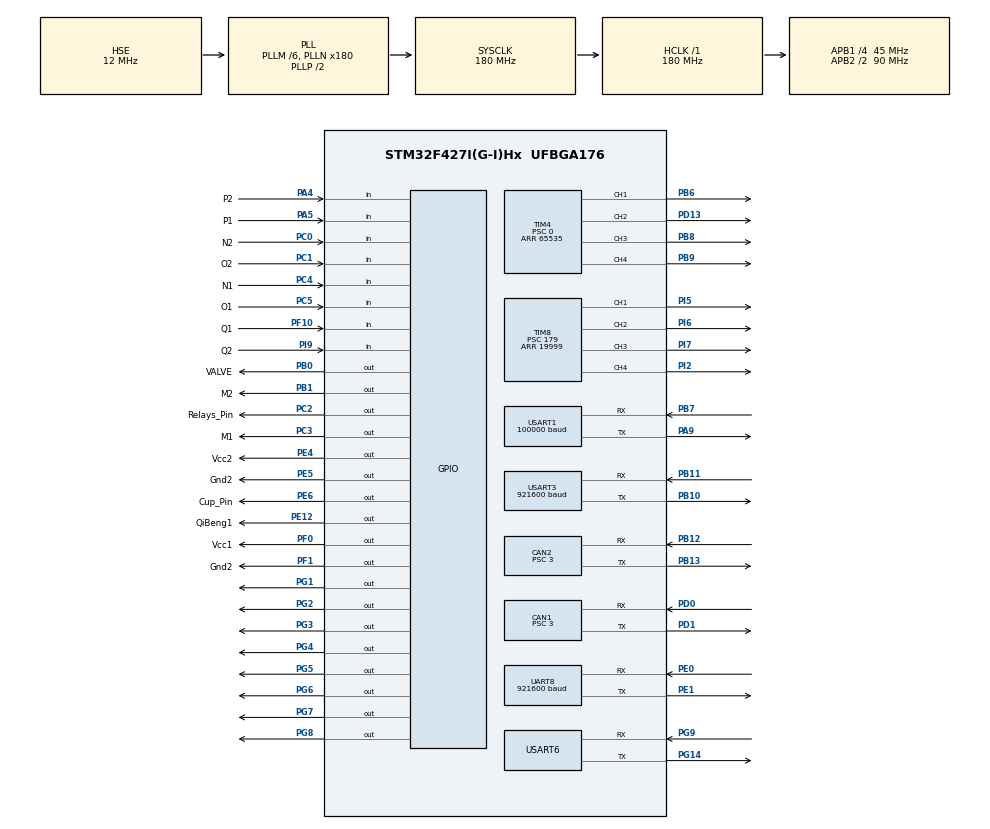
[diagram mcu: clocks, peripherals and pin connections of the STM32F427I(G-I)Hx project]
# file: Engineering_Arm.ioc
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CAN1.ABOM=ENABLE
CAN1.BS1=CAN_BS1_10TQ
CAN1.BS2=CAN_BS2_4TQ
CAN1.CalculateBaudRate=1000000
CAN1.CalculateTimeBit=1000
CAN1.CalculateTimeQuantum=66.66666666666666
CAN1.Prescaler=3
CAN2.ABOM=ENABLE
CAN2.BS1=CAN_BS1_10TQ
CAN2.BS2=CAN_BS2_4TQ
CAN2.CalculateBaudRate=1000000
CAN2.CalculateTimeBit=1000
CAN2.CalculateTimeQuantum=66.66666666666666
CAN2.Prescaler=3
Dma.Request0=UART8_RX
Dma.Request1=USART1_RX
Dma.Request2=USART6_RX
Dma.Request3=USART6_TX
Dma.Request4=UART8_TX
Dma.Request5=USART3_RX
Dma.UART8_RX.0.Direction=DMA_PERIPH_TO_MEMORY
Dma.UART8_RX.0.FIFOMode=DMA_FIFOMODE_DISABLE
Dma.UART8_RX.0.Instance=DMA1_Stream6
Dma.UART8_RX.0.MemDataAlignment=DMA_MDATAALIGN_BYTE
Dma.UART8_RX.0.MemInc=DMA_MINC_ENABLE
Dma.UART8_RX.0.Mode=DMA_CIRCULAR
Dma.UART8_RX.0.PeriphDataAlignment=DMA_PDATAALIGN_BYTE
Dma.UART8_RX.0.PeriphInc=DMA_PINC_DISABLE
Dma.UART8_RX.0.Priority=DMA_PRIORITY_MEDIUM
Dma.UART8_TX.4.Direction=DMA_MEMORY_TO_PERIPH
Dma.UART8_TX.4.FIFOMode=DMA_FIFOMODE_DISABLE
Dma.UART8_TX.4.Instance=DMA1_Stream0
Dma.UART8_TX.4.MemDataAlignment=DMA_MDATAALIGN_BYTE
Dma.UART8_TX.4.MemInc=DMA_MINC_ENABLE
Dma.UART8_TX.4.Mode=DMA_NORMAL
Dma.UART8_TX.4.PeriphDataAlignment=DMA_PDATAALIGN_BYTE
Dma.UART8_TX.4.PeriphInc=DMA_PINC_DISABLE
Dma.UART8_TX.4.Priority=DMA_PRIORITY_LOW
Dma.USART1_RX.1.Direction=DMA_PERIPH_TO_MEMORY
Dma.USART1_RX.1.FIFOMode=DMA_FIFOMODE_DISABLE
Dma.USART1_RX.1.Instance=DMA2_Stream2
Dma.USART1_RX.1.MemDataAlignment=DMA_MDATAALIGN_BYTE
Dma.USART1_RX.1.MemInc=DMA_MINC_ENABLE
Dma.USART1_RX.1.Mode=DMA_NORMAL
Dma.USART1_RX.1.PeriphDataAlignment=DMA_PDATAALIGN_BYTE
Dma.USART1_RX.1.PeriphInc=DMA_PINC_DISABLE
Dma.USART1_RX.1.Priority=DMA_PRIORITY_VERY_HIGH
Dma.USART3_RX.5.Direction=DMA_PERIPH_TO_MEMORY
Dma.USART3_RX.5.FIFOMode=DMA_FIFOMODE_DISABLE
Dma.USART3_RX.5.Instance=DMA1_Stream1
Dma.USART3_RX.5.MemDataAlignment=DMA_MDATAALIGN_BYTE
Dma.USART3_RX.5.MemInc=DMA_MINC_ENABLE
Dma.USART3_RX.5.Mode=DMA_CIRCULAR
Dma.USART3_RX.5.PeriphDataAlignment=DMA_PDATAALIGN_BYTE
Dma.USART3_RX.5.PeriphInc=DMA_PINC_DISABLE
Dma.USART3_RX.5.Priority=DMA_PRIORITY_MEDIUM
Dma.USART6_RX.2.Direction=DMA_PERIPH_TO_MEMORY
Dma.USART6_RX.2.FIFOMode=DMA_FIFOMODE_DISABLE
Dma.USART6_RX.2.Instance=DMA2_Stream1
Dma.USART6_RX.2.MemDataAlignment=DMA_MDATAALIGN_BYTE
Dma.USART6_RX.2.MemInc=DMA_MINC_ENABLE
Dma.USART6_RX.2.Mode=DMA_NORMAL
Dma.USART6_RX.2.PeriphDataAlignment=DMA_PDATAALIGN_BYTE
Dma.USART6_RX.2.PeriphInc=DMA_PINC_DISABLE
Dma.USART6_RX.2.Priority=DMA_PRIORITY_HIGH
Dma.USART6_TX.3.Direction=DMA_MEMORY_TO_PERIPH
Dma.USART6_TX.3.FIFOMode=DMA_FIFOMODE_DISABLE
Dma.USART6_TX.3.Instance=DMA2_Stream6
Dma.USART6_TX.3.MemDataAlignment=DMA_MDATAALIGN_BYTE
Dma.USART6_TX.3.MemInc=DMA_MINC_ENABLE
Dma.USART6_TX.3.Mode=DMA_NORMAL
Dma.USART6_TX.3.PeriphDataAlignment=DMA_PDATAALIGN_BYTE
Dma.USART6_TX.3.PeriphInc=DMA_PINC_DISABLE
Dma.USART6_TX.3.Priority=DMA_PRIORITY_HIGH
FREERTOS.Tasks01=POSITION_TASK,0,128,Position_Task,Default,NULL,Dynamic,NULL,NULL;YAW_6020_TASK,0,128,Yaw_Task,Default,NULL,Dynamic,NULL,NULL;KEYSCAN_TASK,0,256,keyscan_task,As weak,NULL,Dynamic,NULL,NULL;CUSTOM_TASK,0,128,Custom_Task,Default,NULL,Dynamic,NULL,NULL;IMAGE_TASK,0,128,Image_Task,Default,NULL,Dynamic,NULL,NULL;CHASSIS_TASK,0,512,Chassis_Task,Default,NULL,Dynamic,NULL,NULL;REFEREE_USART,0,256,referee_usart_task,As weak,NULL,Dynamic,NULL,NULL;UI_TASK,0,256,UI_task,As weak,NULL,Dynamic,NULL,NULL
Mcu.Family=STM32F4
Mcu.Name=STM32F427I(G-I)Hx
Mcu.Package=UFBGA176
NVIC.CAN1_RX0_IRQn=true\:5\:0\:false\:false\:true\:true\:true\:true\:true
NVIC.CAN1_TX_IRQn=true\:5\:0\:false\:false\:true\:true\:true\:true\:true
NVIC.CAN2_RX0_IRQn=true\:5\:0\:false\:false\:true\:true\:true\:true\:true
NVIC.CAN2_TX_IRQn=true\:5\:0\:false\:false\:true\:true\:true\:true\:true
NVIC.DMA1_Stream0_IRQn=true\:5\:0\:false\:false\:true\:true\:false\:true\:true
NVIC.DMA1_Stream1_IRQn=true\:1\:0\:true\:false\:true\:false\:false\:true\:true
NVIC.DMA1_Stream6_IRQn=true\:1\:0\:true\:false\:true\:false\:true\:true\:true
NVIC.DMA2_Stream1_IRQn=true\:5\:0\:false\:false\:true\:true\:false\:true\:true
NVIC.DMA2_Stream2_IRQn=true\:5\:0\:false\:false\:true\:true\:false\:true\:true
NVIC.DMA2_Stream6_IRQn=true\:5\:0\:true\:false\:true\:true\:false\:true\:true
NVIC.PriorityGroup=NVIC_PRIORITYGROUP_4
NVIC.TIM7_IRQn=true\:5\:0\:false\:false\:true\:true\:true\:true\:true
NVIC.UART8_IRQn=true\:0\:0\:true\:false\:true\:false\:true\:true\:true
NVIC.USART1_IRQn=true\:5\:0\:false\:false\:false\:true\:true\:true\:true
NVIC.USART3_IRQn=true\:5\:0\:false\:false\:true\:false\:true\:true\:true
NVIC.USART6_IRQn=true\:5\:0\:true\:false\:true\:true\:true\:true\:true
PA13.Mode=Serial_Wire
PA13.Signal=SYS_JTMS-SWDIO
PA14.Mode=Serial_Wire
PA14.Signal=SYS_JTCK-SWCLK
PA4.GPIO_Label=P2
PA4.GPIO_PuPd=GPIO_PULLUP
PA4.Signal=GPIO_Input
PA5.GPIO_Label=P1
PA5.GPIO_PuPd=GPIO_PULLUP
PA5.Signal=GPIO_Input
PA9.Mode=Asynchronous
PA9.Signal=USART1_TX
PB0.GPIO_Label=VALVE
PB0.Signal=GPIO_Output
PB1.GPIO_Label=M2
PB1.GPIO_PuPd=GPIO_PULLUP
PB1.Signal=GPIO_Output
PB10.GPIO_PuPd=GPIO_NOPULL
PB10.Mode=Asynchronous
PB10.Signal=USART3_TX
PB11.GPIO_PuPd=GPIO_NOPULL
PB11.Mode=Asynchronous
PB11.Signal=USART3_RX
PB12.Mode=CAN_Activate
PB12.Signal=CAN2_RX
PB13.Mode=CAN_Activate
PB13.Signal=CAN2_TX
PB6.Signal=S_TIM4_CH1
PB7.Mode=Asynchronous
PB7.Signal=USART1_RX
PB8.Signal=S_TIM4_CH3
PB9.Signal=S_TIM4_CH4
PC0.GPIO_Label=N2
PC0.GPIO_PuPd=GPIO_PULLUP
PC0.Signal=GPIO_Input
PC1.GPIO_Label=O2
PC1.GPIO_PuPd=GPIO_PULLUP
PC1.Signal=GPIO_Input
PC2.GPIO_Label=Relays_Pin
PC2.Signal=GPIO_Output
PC3.GPIO_Label=M1
PC3.GPIO_PuPd=GPIO_PULLUP
PC3.Signal=GPIO_Output
PC4.GPIO_Label=N1
PC4.GPIO_PuPd=GPIO_PULLUP
PC4.Signal=GPIO_Input
PC5.GPIO_Label=O1
PC5.GPIO_PuPd=GPIO_PULLUP
PC5.Signal=GPIO_Input
PD0.Mode=CAN_Activate
PD0.Signal=CAN1_RX
PD1.Mode=CAN_Activate
PD1.Signal=CAN1_TX
PD13.Signal=S_TIM4_CH2
PE0.GPIO_PuPd=GPIO_PULLUP
PE0.Mode=Asynchronous
PE0.Signal=UART8_RX
PE1.GPIO_PuPd=GPIO_PULLUP
PE1.Mode=Asynchronous
PE1.Signal=UART8_TX
PE12.GPIO_Label=QiBeng1
PE12.PinState=GPIO_PIN_RESET
PE12.Signal=GPIO_Output
PE4.GPIO_Label=Vcc2
PE4.PinState=GPIO_PIN_SET
PE4.Signal=GPIO_Output
PE5.GPIO_Label=Gnd2
PE5.Signal=GPIO_Output
PE6.GPIO_Label=Cup_Pin
PE6.PinState=GPIO_PIN_RESET
PE6.Signal=GPIO_Output
PF0.GPIO_Label=Vcc1
PF0.PinState=GPIO_PIN_SET
PF0.Signal=GPIO_Output
PF1.GPIO_Label=Gnd2
PF1.Signal=GPIO_Output
PF10.GPIO_Label=Q1
PF10.GPIO_PuPd=GPIO_PULLUP
PF10.Signal=GPIO_Input
PG1.Signal=GPIO_Output
PG14.Mode=Asynchronous
PG14.Signal=USART6_TX
PG2.Signal=GPIO_Output
PG3.Signal=GPIO_Output
PG4.Signal=GPIO_Output
PG5.Signal=GPIO_Output
PG6.Signal=GPIO_Output
PG7.Signal=GPIO_Output
PG8.Signal=GPIO_Output
PG9.Mode=Asynchronous
PG9.Signal=USART6_RX
PH0/OSC_IN.Mode=HSE-External-Oscillator
PH0/OSC_IN.Signal=RCC_OSC_IN
PH1/OSC_OUT.Mode=HSE-External-Oscillator
PH1/OSC_OUT.Signal=RCC_OSC_OUT
PI2.Signal=S_TIM8_CH4
PI5.Signal=S_TIM8_CH1
PI6.Signal=S_TIM8_CH2
PI7.Signal=S_TIM8_CH3
PI9.GPIO_Label=Q2
PI9.GPIO_PuPd=GPIO_PULLUP
PI9.Signal=GPIO_Input
ProjectManager.HeapSize=0x200
ProjectManager.StackSize=0x400
ProjectManager.TargetToolchain=MDK-ARM V5.32
RCC.48MHZClocksFreq_Value=90000000
RCC.AHBFreq_Value=180000000
RCC.APB1CLKDivider=RCC_HCLK_DIV4
RCC.APB1Freq_Value=45000000
RCC.APB1TimFreq_Value=90000000
RCC.APB2CLKDivider=RCC_HCLK_DIV2
RCC.APB2Freq_Value=90000000
RCC.APB2TimFreq_Value=180000000
RCC.CortexFreq_Value=180000000
RCC.HCLKFreq_Value=180000000
RCC.HSE_VALUE=12000000
RCC.HSI_VALUE=16000000
RCC.LSE_VALUE=32768
RCC.PLLM=6
RCC.PLLN=180
RCC.PLLSourceVirtual=RCC_PLLSOURCE_HSE
RCC.SYSCLKFreq_VALUE=180000000
RCC.SYSCLKSource=RCC_SYSCLKSOURCE_PLLCLK
RCC.VCOOutputFreq_Value=360000000
SH.S_TIM4_CH1.0=TIM4_CH1,PWM Generation1 CH1
SH.S_TIM4_CH2.0=TIM4_CH2,PWM Generation2 CH2
SH.S_TIM4_CH3.0=TIM4_CH3,PWM Generation3 CH3
SH.S_TIM4_CH4.0=TIM4_CH4,PWM Generation4 CH4
SH.S_TIM8_CH1.0=TIM8_CH1,PWM Generation1 CH1
SH.S_TIM8_CH2.0=TIM8_CH2,PWM Generation2 CH2
SH.S_TIM8_CH3.0=TIM8_CH3,PWM Generation3 CH3
SH.S_TIM8_CH4.0=TIM8_CH4,PWM Generation4 CH4
TIM4.Channel-PWM\ Generation1\ CH1=TIM_CHANNEL_1
TIM4.Channel-PWM\ Generation2\ CH2=TIM_CHANNEL_2
TIM4.Channel-PWM\ Generation3\ CH3=TIM_CHANNEL_3
TIM4.Channel-PWM\ Generation4\ CH4=TIM_CHANNEL_4
TIM4.Period=65535
TIM4.Prescaler=0
TIM4.Pulse-PWM\ Generation1\ CH1=5000
TIM4.Pulse-PWM\ Generation2\ CH2=1000
TIM7.Period=100-1
TIM7.Prescaler=18000-1
TIM8.Channel-PWM\ Generation1\ CH1=TIM_CHANNEL_1
TIM8.Channel-PWM\ Generation2\ CH2=TIM_CHANNEL_2
TIM8.Channel-PWM\ Generation3\ CH3=TIM_CHANNEL_3
TIM8.Channel-PWM\ Generation4\ CH4=TIM_CHANNEL_4
TIM8.Period=19999
TIM8.Prescaler=179
UART8.BaudRate=921600
UART8.VirtualMode=Asynchronous
USART1.BaudRate=100000
USART1.VirtualMode=VM_ASYNC
USART3.BaudRate=921600
USART3.VirtualMode=VM_ASYNC
USART6.VirtualMode=VM_ASYNC
VP_FREERTOS_VS_CMSIS_V1.Mode=CMSIS_V1
VP_TIM7_VS_ClockSourceINT.Mode=Enable_Timer
board=custom

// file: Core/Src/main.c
/* USER CODE BEGIN Header */
/**
  ******************************************************************************
  * @file           : main.c
  * @brief          : Main program body
  ******************************************************************************
  * @attention
  *
  * Copyright (c) 2024 STMicroelectronics.
  * All rights reserved.
  *
  * This software is licensed under terms that can be found in the LICENSE file
  * in the root directory of this software component.
  * If no LICENSE file comes with this software, it is provided AS-IS.
  *
  ******************************************************************************
  */
/* USER CODE END Header */
#include "main.h"
#include "cmsis_os.h"
#include "can.h"
#include "dma.h"
#include "tim.h"
#include "usart.h"
#include "gpio.h"

/* USER CODE BEGIN Includes */
#include "All_init.h"
#include "CAN_receive.h"
//#include "custom.h"
/* USER CODE END Includes */

void SystemClock_Config(void);
void MX_FREERTOS_Init(void);

int main(void)
{

  /* MCU Configuration--------------------------------------------------------*/

  /* Reset of all peripherals, Initializes the Flash interface and the Systick. */
  HAL_Init();

  /* Configure the system clock */
  SystemClock_Config();

  /* Initialize all configured perip0herals */
  MX_GPIO_Init();
  MX_DMA_Init();
  MX_CAN1_Init();
  MX_CAN2_Init();
  MX_UART8_Init();
  MX_USART1_UART_Init();
  MX_USART6_UART_Init();
  MX_TIM4_Init();
  MX_TIM8_Init();
  MX_TIM7_Init();
  MX_USART3_UART_Init();
  /* USER CODE BEGIN 2 */
//	All_init();
//	uart8_init(usart8_rx[0],usart8_rx[1], 82);

  /* USER CODE END 2 */

  /* Call init function for freertos objects (in cmsis_os2.c) */
  MX_FREERTOS_Init();

  /* Start scheduler */
  osKernelStart();

  /* We should never get here as control is now taken by the scheduler */

  /* Infinite loop */
  /* USER CODE BEGIN WHILE */
  while (1)
  {
//	  mit_ctrl(&hcan1, &DM_yaw, DM_yaw.id, 1, 0, 0.4, 0.04, 0);
//		HAL_UARTEx_ReceiveToIdle_DMA(&huart8, receive_data, receive_size);
    /* USER CODE END WHILE */

  }
}

void SystemClock_Config(void)
{
  RCC_OscInitTypeDef RCC_OscInitStruct = {0};
  RCC_ClkInitTypeDef RCC_ClkInitStruct = {0};

  /** Configure the main internal regulator output voltage
  */
  __HAL_RCC_PWR_CLK_ENABLE();
  __HAL_PWR_VOLTAGESCALING_CONFIG(PWR_REGULATOR_VOLTAGE_SCALE1);

  /** Initializes the RCC Oscillators according to the specified parameters
  * in the RCC_OscInitTypeDef structure.
  */
  RCC_OscInitStruct.OscillatorType = RCC_OSCILLATORTYPE_HSE;
  RCC_OscInitStruct.HSEState = RCC_HSE_ON;
  RCC_OscInitStruct.PLL.PLLState = RCC_PLL_ON;
  RCC_OscInitStruct.PLL.PLLSource = RCC_PLLSOURCE_HSE;
  RCC_OscInitStruct.PLL.PLLM = 6;
  RCC_OscInitStruct.PLL.PLLN = 180;
  RCC_OscInitStruct.PLL.PLLP = RCC_PLLP_DIV2;
  RCC_OscInitStruct.PLL.PLLQ = 4;
  if (HAL_RCC_OscConfig(&RCC_OscInitStruct) != HAL_OK)
  {
    Error_Handler();
  }

  /** Activate the Over-Drive mode
  */
  if (HAL_PWREx_EnableOverDrive() != HAL_OK)
  {
    Error_Handler();
  }

  /** Initializes the CPU, AHB and APB buses clocks
  */
  RCC_ClkInitStruct.ClockType = RCC_CLOCKTYPE_HCLK|RCC_CLOCKTYPE_SYSCLK
                              |RCC_CLOCKTYPE_PCLK1|RCC_CLOCKTYPE_PCLK2;
  RCC_ClkInitStruct.SYSCLKSource = RCC_SYSCLKSOURCE_PLLCLK;
  RCC_ClkInitStruct.AHBCLKDivider = RCC_SYSCLK_DIV1;
  RCC_ClkInitStruct.APB1CLKDivider = RCC_HCLK_DIV4;
  RCC_ClkInitStruct.APB2CLKDivider = RCC_HCLK_DIV2;

  if (HAL_RCC_ClockConfig(&RCC_ClkInitStruct, FLASH_LATENCY_5) != HAL_OK)
  {
    Error_Handler();
  }
}

void Error_Handler(void)
{
  __disable_irq();
  while (1)
  {
  }
}

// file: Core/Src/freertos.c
/* USER CODE BEGIN Header */
/**
 ******************************************************************************
 * File Name          : freertos.c
 * Description        : Code for freertos applications
 ******************************************************************************
 * @attention
 *
 * Copyright (c) 2024 STMicroelectronics.
 * All rights reserved.
 *
 * This software is licensed under terms that can be found in the LICENSE file
 * in the root directory of this software component.
 * If no LICENSE file comes with this software, it is provided AS-IS.
 *
 ******************************************************************************
 */
/* USER CODE END Header */

#include "FreeRTOS.h"
#include "task.h"
#include "main.h"
#include "cmsis_os.h"

/* USER CODE BEGIN Includes */
#include "position_task.h"
#include "yaw_task.h"
#include "custom.h"
#include "keyscan_task.h"
#include "image_task.h"
#include "chassis_task.h"
#include "UI_task.h"
#include "referee_usart_task.h"
#include "Behavior.h"
/* USER CODE END Includes */

osThreadId POSITION_TASKHandle;
osThreadId YAW_6020_TASKHandle;
osThreadId KEYSCAN_TASKHandle;
osThreadId CUSTOM_TASKHandle;
osThreadId IMAGE_TASKHandle;
osThreadId CHASSIS_TASKHandle;
osThreadId REFEREE_USARTHandle;
osThreadId UI_TASKHandle;

void Position_Task(void const *argument);
void Yaw_Task(void const *argument);
void keyscan_task(void const *argument);
void Custom_Task(void const *argument);
void Image_Task(void const *argument);
void Chassis_Task(void const *argument);
void referee_usart_task(void const *argument);
void UI_task(void const *argument);

void MX_FREERTOS_Init(void); /* (MISRA C 2004 rule 8.1) */

/* GetIdleTaskMemory prototype (linked to static allocation support) */
void vApplicationGetIdleTaskMemory(StaticTask_t **ppxIdleTaskTCBBuffer, StackType_t **ppxIdleTaskStackBuffer, uint32_t *pulIdleTaskStackSize);

/* USER CODE BEGIN GET_IDLE_TASK_MEMORY */
static StaticTask_t xIdleTaskTCBBuffer;
static StackType_t xIdleStack[configMINIMAL_STACK_SIZE];

void vApplicationGetIdleTaskMemory(StaticTask_t **ppxIdleTaskTCBBuffer, StackType_t **ppxIdleTaskStackBuffer, uint32_t *pulIdleTaskStackSize)
{
  *ppxIdleTaskTCBBuffer = &xIdleTaskTCBBuffer;
  *ppxIdleTaskStackBuffer = &xIdleStack[0];
  *pulIdleTaskStackSize = configMINIMAL_STACK_SIZE;
  /* place for user code */
}
/* USER CODE END GET_IDLE_TASK_MEMORY */

void MX_FREERTOS_Init(void)
{

  /* Create the thread(s) */
  /* definition and creation of POSITION_TASK */
  osThreadDef(POSITION_TASK, Position_Task, osPriorityNormal, 0, 128);
  POSITION_TASKHandle = osThreadCreate(osThread(POSITION_TASK), NULL);

  /* definition and creation of YAW_6020_TASK */
  osThreadDef(YAW_6020_TASK, Yaw_Task, osPriorityNormal, 0, 128);
  YAW_6020_TASKHandle = osThreadCreate(osThread(YAW_6020_TASK), NULL);

  /* definition and creation of KEYSCAN_TASK */
  osThreadDef(KEYSCAN_TASK, keyscan_task, osPriorityNormal, 0, 256);
  KEYSCAN_TASKHandle = osThreadCreate(osThread(KEYSCAN_TASK), NULL);

  /* definition and creation of CUSTOM_TASK */
  osThreadDef(CUSTOM_TASK, Custom_Task, osPriorityNormal, 0, 256);
  CUSTOM_TASKHandle = osThreadCreate(osThread(CUSTOM_TASK), NULL);

  /* definition and creation of IMAGE_TASK */
  osThreadDef(IMAGE_TASK, Image_Task, osPriorityNormal, 0, 128);
  IMAGE_TASKHandle = osThreadCreate(osThread(IMAGE_TASK), NULL);

  /* definition and creation of CHASSIS_TASK */
  osThreadDef(CHASSIS_TASK, Chassis_Task, osPriorityNormal, 0, 512);
  CHASSIS_TASKHandle = osThreadCreate(osThread(CHASSIS_TASK), NULL);

  /* definition and creation of REFEREE_USART */
  osThreadDef(REFEREE_USART, referee_usart_task, osPriorityNormal, 0, 256);
  REFEREE_USARTHandle = osThreadCreate(osThread(REFEREE_USART), NULL);

  /* definition and creation of UI_TASK */
  osThreadDef(UI_TASK, UI_task, osPriorityNormal, 0, 256);
  UI_TASKHandle = osThreadCreate(osThread(UI_TASK), NULL);

}

void Position_Task(void const *argument)
{
  /* USER CODE BEGIN Position_Task */
  osDelay(357);
  position_init();
  /* Infinite loop */
  for (;;)
  {
    position_task();
    osDelay(1);
  }
  /* USER CODE END Position_Task */
}

void Yaw_Task(void const *argument)
{
  /* USER CODE BEGIN Yaw_Task */
  osDelay(357);
  TD_INIT();
  /* Infinite loop */
  for (;;)
  {
    TD_task();
    osDelay(1);
  }
  /* USER CODE END Yaw_Task */
}

__weak void keyscan_task(void const *argument)
{
  /* USER CODE BEGIN keyscan_task */
  //  /* Infinite loop */
  //  for(;;)
  //  {
  //    osDelay(1);
  //  }
  /* USER CODE END keyscan_task */
}

void Custom_Task(void const *argument)
{
  /* USER CODE BEGIN Custom_Task */
  osDelay(357);
  /* 在UART8初始化完成后添加 */
  //	__HAL_UART_ENABLE_IT(&huart8, UART_IT_RXNE);  // 接收中断
  // HAL_UARTEx_ReceiveToIdle_DMA(&huart8, receive_data, receive_size);
  //	__HAL_UART_ENABLE_IT(&huart8, UART_IT_IDLE);

  /* Infinite loop */
  for (;;)
  {
    Reset_task();
    //    Custom_task();
    //    osDelay(1);
  }
  /* USER CODE END Custom_Task */
}

void Image_Task(void const *argument)
{
  /* USER CODE BEGIN Image_Task */
  osDelay(357);
  // image_task_init(&image_task);
  /* Infinite loop */
  for (;;)
  {
    Behavior_Task();
    // image_mode_task();
    osDelay(1);
  }
  /* USER CODE END Image_Task */
}

void Chassis_Task(void const *argument)
{
  /* USER CODE BEGIN Chassis_Task */
  chassis_init();
  /* Infinite loop */
  for (;;)
  {
    Chassis_Task_os();
    osDelay(1);
  }
  /* USER CODE END Chassis_Task */
}

__weak void referee_usart_task(void const *argument)
{
  /* USER CODE BEGIN referee_usart_task */
  /* Infinite loop */
  //  for (;;)
  //  {
  //    osDelay(1);
  //  }
  /* USER CODE END referee_usart_task */
}

__weak void UI_task(void const *argument)
{
  for (;;)
  {
    osDelay(1);
  }
}
